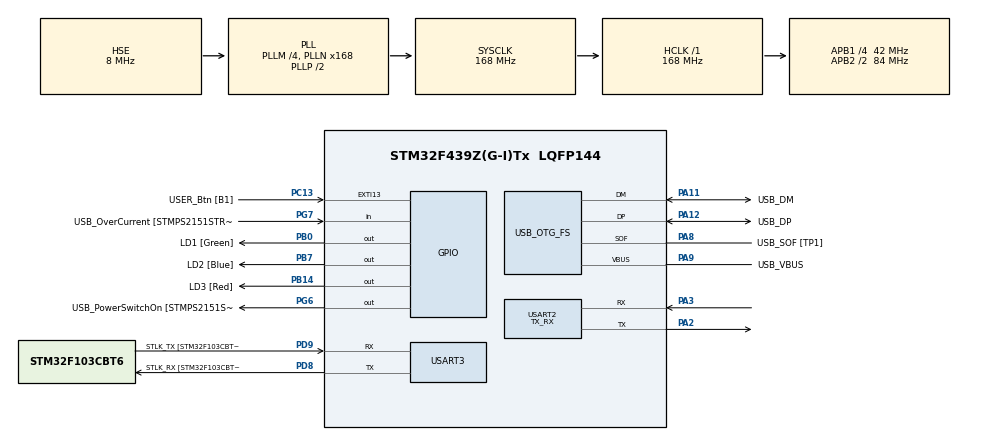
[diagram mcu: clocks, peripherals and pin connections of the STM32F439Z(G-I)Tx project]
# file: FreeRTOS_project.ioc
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FREERTOS.Tasks01=defaultTask,0,128,StartDefaultTask,Default,NULL,Dynamic,NULL,NULL;timerTest,0,512,StartTimerTest,Default,NULL,Dynamic,NULL,NULL
FREERTOS.configUSE_NEWLIB_REENTRANT=1
Mcu.Family=STM32F4
Mcu.Name=STM32F439Z(G-I)Tx
Mcu.Package=LQFP144
NVIC.PriorityGroup=NVIC_PRIORITYGROUP_4
NVIC.TIM2_IRQn=true\:5\:0\:false\:false\:true\:true\:true\:true\:true
NVIC.TIM3_IRQn=true\:5\:0\:false\:false\:true\:true\:true\:true\:true
NVIC.TIM4_IRQn=true\:5\:0\:false\:false\:true\:true\:true\:true\:true
NVIC.TIM6_DAC_IRQn=true\:15\:0\:false\:false\:true\:false\:false\:true\:true
NVIC.TimeBase=TIM6_DAC_IRQn
NVIC.TimeBaseIP=TIM6
PA10.GPIO_Label=USB_ID
PA10.Signal=USB_OTG_FS_ID
PA11.GPIO_Label=USB_DM
PA11.Mode=Device_Only
PA11.Signal=USB_OTG_FS_DM
PA12.GPIO_Label=USB_DP
PA12.Mode=Device_Only
PA12.Signal=USB_OTG_FS_DP
PA13.GPIO_Label=TMS
PA13.Mode=Serial_Wire
PA13.Signal=SYS_JTMS-SWDIO
PA14.GPIO_Label=TCK
PA14.Mode=Serial_Wire
PA14.Signal=SYS_JTCK-SWCLK
PA2.Mode=Asynchronous
PA2.Signal=USART2_TX
PA3.Mode=Asynchronous
PA3.Signal=USART2_RX
PA7.GPIO_Label=RMII_CRS_DV [LAN8742A-CZ-TR_CRS_DV]
PA7.Signal=ETH_CRS_DV
PA8.GPIO_Label=USB_SOF [TP1]
PA8.Mode=Activate_SOF_FS
PA8.Signal=USB_OTG_FS_SOF
PA9.GPIO_Label=USB_VBUS
PA9.Mode=Activate_VBUS
PA9.Signal=USB_OTG_FS_VBUS
PB0.GPIO_Label=LD1 [Green]
PB0.Signal=GPIO_Output
PB13.GPIO_Label=RMII_TXD1 [LAN8742A-CZ-TR_TXD1]
PB13.Signal=ETH_TXD1
PB14.GPIO_Label=LD3 [Red]
PB14.Signal=GPIO_Output
PB7.GPIO_Label=LD2 [Blue]
PB7.Signal=GPIO_Output
PC1.GPIO_Label=RMII_MDC [LAN8742A-CZ-TR_MDC]
PC1.Signal=ETH_MDC
PC13.GPIO_Label=USER_Btn [B1]
PC13.Signal=GPXTI13
PC14/OSC32_IN.Mode=LSE-External-Oscillator
PC14/OSC32_IN.Signal=RCC_OSC32_IN
PC15/OSC32_OUT.Mode=LSE-External-Oscillator
PC15/OSC32_OUT.Signal=RCC_OSC32_OUT
PC4.GPIO_Label=RMII_RXD0 [LAN8742A-CZ-TR_RXD0]
PC4.Signal=ETH_RXD0
PC5.GPIO_Label=RMII_RXD1 [LAN8742A-CZ-TR_RXD1]
PC5.Signal=ETH_RXD1
PD8.GPIO_Label=STLK_RX [STM32F103CBT6_PA3]
PD8.Mode=Asynchronous
PD8.Signal=USART3_TX
PD9.GPIO_Label=STLK_TX [STM32F103CBT6_PA2]
PD9.Mode=Asynchronous
PD9.Signal=USART3_RX
PG11.GPIO_Label=RMII_TX_EN [LAN8742A-CZ-TR_TXEN]
PG11.Signal=ETH_TX_EN
PG13.GPIO_Label=RMII_TXD0 [LAN8742A-CZ-TR_TXD0]
PG13.Signal=ETH_TXD0
PG6.GPIO_Label=USB_PowerSwitchOn [STMPS2151STR_EN]
PG6.Signal=GPIO_Output
PG7.GPIO_Label=USB_OverCurrent [STMPS2151STR_FAULT]
PG7.Signal=GPIO_Input
PH0/OSC_IN.GPIO_Label=MCO [STM32F103CBT6_PA8]
PH0/OSC_IN.Mode=HSE-External-Clock-Source
PH0/OSC_IN.Signal=RCC_OSC_IN
PH1/OSC_OUT.Mode=HSE-External-Clock-Source
PH1/OSC_OUT.Signal=RCC_OSC_OUT
ProjectManager.HeapSize=0x200
ProjectManager.StackSize=0x400
ProjectManager.TargetToolchain=STM32CubeIDE
RCC.48MHZClocksFreq_Value=48000000
RCC.AHBFreq_Value=168000000
RCC.APB1CLKDivider=RCC_HCLK_DIV4
RCC.APB1Freq_Value=42000000
RCC.APB1TimFreq_Value=84000000
RCC.APB2CLKDivider=RCC_HCLK_DIV2
RCC.APB2Freq_Value=84000000
RCC.APB2TimCLKDivider=2
RCC.APB2TimFreq_Value=168000000
RCC.CortexFreq_Value=168000000
RCC.HCLKFreq_Value=168000000
RCC.HSE_VALUE=8000000
RCC.HSI_VALUE=16000000
RCC.PLLM=4
RCC.PLLMUL=RCC_PLL_MUL9
RCC.PLLN=168
RCC.PLLQ=7
RCC.PRESCALERUSB=RCC_USBCLKSOURCE_PLL_DIV1_5
RCC.SYSCLKFreq_VALUE=168000000
RCC.SYSCLKSource=RCC_SYSCLKSOURCE_PLLCLK
RCC.SYSCLKSourceVirtual=RCC_SYSCLKSOURCE_PLLCLK
RCC.USBFreq_Value=48000000
RCC.VCOOutputFreq_Value=336000000
TIM2.Period=99
TIM2.Prescaler=167
TIM3.Period=199
TIM3.Prescaler=167
TIM4.Period=499
TIM4.Prescaler=167
USART2.Mode=MODE_TX_RX
USART2.VirtualMode=VM_ASYNC
USART3.VirtualMode=VM_ASYNC
USB_OTG_FS.VirtualMode=Device_Only
VP_FREERTOS_VS_CMSIS_V1.Mode=CMSIS_V1
VP_SYS_VS_tim6.Mode=TIM6
VP_TIM2_VS_ClockSourceINT.Mode=Internal
VP_TIM3_VS_ClockSourceINT.Mode=Internal
VP_TIM4_VS_ClockSourceINT.Mode=Internal
board=NUCLEO-F439ZI

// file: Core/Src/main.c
/* USER CODE BEGIN Header */
/**
 ******************************************************************************
 * @file           : main.c
 * @brief          : Main program body
 ******************************************************************************
 * @attention
 *
 * Copyright (c) 2025 STMicroelectronics.
 * All rights reserved.
 *
 * This software is licensed under terms that can be found in the LICENSE file
 * in the root directory of this software component.
 * If no LICENSE file comes with this software, it is provided AS-IS.
 *
 ******************************************************************************
 */
#include <stdio.h>
/* USER CODE END Header */
#include "main.h"
#include "cmsis_os.h"

/* USER CODE BEGIN Includes */
#include <stdbool.h>
/* USER CODE END Includes */

TIM_HandleTypeDef htim2;
TIM_HandleTypeDef htim3;
TIM_HandleTypeDef htim4;

UART_HandleTypeDef huart2;
UART_HandleTypeDef huart3;

PCD_HandleTypeDef hpcd_USB_OTG_FS;

osThreadId defaultTaskHandle;
osThreadId timerTestHandle;

void SystemClock_Config(void);
static void MX_GPIO_Init(void);
static void MX_USART3_UART_Init(void);
static void MX_USB_OTG_FS_PCD_Init(void);
static void MX_USART2_UART_Init(void);
static void MX_TIM2_Init(void);
static void MX_TIM3_Init(void);
static void MX_TIM4_Init(void);
void StartDefaultTask(void const *argument);
void StartTimerTest(void const *argument);

/* USER CODE BEGIN 0 */
int _write(int file, char *ptr, int len)
{
  HAL_UART_Transmit(&huart3, (uint8_t *)ptr, len, 10);
  return len;
}

static inline uint64_t get_cycles(void)
{
  return DWT->CYCCNT;
}

void dwt_init(void)
{
  CoreDebug->DEMCR |= CoreDebug_DEMCR_TRCENA_Msk;
  DWT->CYCCNT = 0;
  DWT->CTRL |= DWT_CTRL_CYCCNTENA_Msk;
}

#define SAMPLES 1000
#define REPEATS 5

static uint64_t time_100[SAMPLES];

static int count_100 = 0;
static bool done_100 = false;

void cb_100(TimerHandle_t xTimer)
{
  if (count_100 < SAMPLES)
  {
    time_100[count_100++] = get_cycles();
  }
  if (count_100 == SAMPLES)
    done_100 = true;
}

TimerHandle_t t100;

void timers_init(void)
{
  t100 = xTimerCreate("t100", 10, pdTRUE, NULL, cb_100);
}

void timers_start(void)
{
  xTimerStart(t100, 0);
}
/* USER CODE END 0 */

int main(void)
{

  /* MCU Configuration--------------------------------------------------------*/

  /* Reset of all peripherals, Initializes the Flash interface and the Systick. */
  HAL_Init();

  /* Configure the system clock */
  SystemClock_Config();

  /* Initialize all configured peripherals */
  MX_GPIO_Init();
  MX_USART3_UART_Init();
  MX_USB_OTG_FS_PCD_Init();
  MX_USART2_UART_Init();
  MX_TIM2_Init();
  MX_TIM3_Init();
  MX_TIM4_Init();

  /* USER CODE BEGIN RTOS_TIMERS */
  dwt_init();
  timers_init();
  timers_start();
  /* USER CODE END RTOS_TIMERS */

  /* Create the thread(s) */
  /* definition and creation of defaultTask */
  osThreadDef(defaultTask, StartDefaultTask, osPriorityNormal, 0, 128);
  defaultTaskHandle = osThreadCreate(osThread(defaultTask), NULL);

  /* definition and creation of timerTest */
  osThreadDef(timerTest, StartTimerTest, osPriorityNormal, 0, 512);
  timerTestHandle = osThreadCreate(osThread(timerTest), NULL);

  /* Start scheduler */
  osKernelStart();

  /* We should never get here as control is now taken by the scheduler */

  /* Infinite loop */
  while (1)
  {

  }
}

void SystemClock_Config(void)
{
  RCC_OscInitTypeDef RCC_OscInitStruct = {0};
  RCC_ClkInitTypeDef RCC_ClkInitStruct = {0};

  /** Configure the main internal regulator output voltage
   */
  __HAL_RCC_PWR_CLK_ENABLE();
  __HAL_PWR_VOLTAGESCALING_CONFIG(PWR_REGULATOR_VOLTAGE_SCALE1);

  /** Initializes the RCC Oscillators according to the specified parameters
   * in the RCC_OscInitTypeDef structure.
   */
  RCC_OscInitStruct.OscillatorType = RCC_OSCILLATORTYPE_HSE;
  RCC_OscInitStruct.HSEState = RCC_HSE_BYPASS;
  RCC_OscInitStruct.PLL.PLLState = RCC_PLL_ON;
  RCC_OscInitStruct.PLL.PLLSource = RCC_PLLSOURCE_HSE;
  RCC_OscInitStruct.PLL.PLLM = 4;
  RCC_OscInitStruct.PLL.PLLN = 168;
  RCC_OscInitStruct.PLL.PLLP = RCC_PLLP_DIV2;
  RCC_OscInitStruct.PLL.PLLQ = 7;
  if (HAL_RCC_OscConfig(&RCC_OscInitStruct) != HAL_OK)
  {
    Error_Handler();
  }

  /** Initializes the CPU, AHB and APB buses clocks
   */
  RCC_ClkInitStruct.ClockType = RCC_CLOCKTYPE_HCLK | RCC_CLOCKTYPE_SYSCLK | RCC_CLOCKTYPE_PCLK1 | RCC_CLOCKTYPE_PCLK2;
  RCC_ClkInitStruct.SYSCLKSource = RCC_SYSCLKSOURCE_PLLCLK;
  RCC_ClkInitStruct.AHBCLKDivider = RCC_SYSCLK_DIV1;
  RCC_ClkInitStruct.APB1CLKDivider = RCC_HCLK_DIV4;
  RCC_ClkInitStruct.APB2CLKDivider = RCC_HCLK_DIV2;

  if (HAL_RCC_ClockConfig(&RCC_ClkInitStruct, FLASH_LATENCY_5) != HAL_OK)
  {
    Error_Handler();
  }
}

static void MX_TIM2_Init(void)
{

  TIM_ClockConfigTypeDef sClockSourceConfig = {0};
  TIM_MasterConfigTypeDef sMasterConfig = {0};

  htim2.Instance = TIM2;
  htim2.Init.Prescaler = 167;
  htim2.Init.CounterMode = TIM_COUNTERMODE_UP;
  htim2.Init.Period = 99;
  htim2.Init.ClockDivision = TIM_CLOCKDIVISION_DIV1;
  htim2.Init.AutoReloadPreload = TIM_AUTORELOAD_PRELOAD_DISABLE;
  if (HAL_TIM_Base_Init(&htim2) != HAL_OK)
  {
    Error_Handler();
  }
  sClockSourceConfig.ClockSource = TIM_CLOCKSOURCE_INTERNAL;
  if (HAL_TIM_ConfigClockSource(&htim2, &sClockSourceConfig) != HAL_OK)
  {
    Error_Handler();
  }
  sMasterConfig.MasterOutputTrigger = TIM_TRGO_RESET;
  sMasterConfig.MasterSlaveMode = TIM_MASTERSLAVEMODE_DISABLE;
  if (HAL_TIMEx_MasterConfigSynchronization(&htim2, &sMasterConfig) != HAL_OK)
  {
    Error_Handler();
  }
}

static void MX_TIM3_Init(void)
{

  TIM_ClockConfigTypeDef sClockSourceConfig = {0};
  TIM_MasterConfigTypeDef sMasterConfig = {0};

  htim3.Instance = TIM3;
  htim3.Init.Prescaler = 167;
  htim3.Init.CounterMode = TIM_COUNTERMODE_UP;
  htim3.Init.Period = 199;
  htim3.Init.ClockDivision = TIM_CLOCKDIVISION_DIV1;
  htim3.Init.AutoReloadPreload = TIM_AUTORELOAD_PRELOAD_DISABLE;
  if (HAL_TIM_Base_Init(&htim3) != HAL_OK)
  {
    Error_Handler();
  }
  sClockSourceConfig.ClockSource = TIM_CLOCKSOURCE_INTERNAL;
  if (HAL_TIM_ConfigClockSource(&htim3, &sClockSourceConfig) != HAL_OK)
  {
    Error_Handler();
  }
  sMasterConfig.MasterOutputTrigger = TIM_TRGO_RESET;
  sMasterConfig.MasterSlaveMode = TIM_MASTERSLAVEMODE_DISABLE;
  if (HAL_TIMEx_MasterConfigSynchronization(&htim3, &sMasterConfig) != HAL_OK)
  {
    Error_Handler();
  }
}

static void MX_TIM4_Init(void)
{

  TIM_ClockConfigTypeDef sClockSourceConfig = {0};
  TIM_MasterConfigTypeDef sMasterConfig = {0};

  htim4.Instance = TIM4;
  htim4.Init.Prescaler = 167;
  htim4.Init.CounterMode = TIM_COUNTERMODE_UP;
  htim4.Init.Period = 499;
  htim4.Init.ClockDivision = TIM_CLOCKDIVISION_DIV1;
  htim4.Init.AutoReloadPreload = TIM_AUTORELOAD_PRELOAD_DISABLE;
  if (HAL_TIM_Base_Init(&htim4) != HAL_OK)
  {
    Error_Handler();
  }
  sClockSourceConfig.ClockSource = TIM_CLOCKSOURCE_INTERNAL;
  if (HAL_TIM_ConfigClockSource(&htim4, &sClockSourceConfig) != HAL_OK)
  {
    Error_Handler();
  }
  sMasterConfig.MasterOutputTrigger = TIM_TRGO_RESET;
  sMasterConfig.MasterSlaveMode = TIM_MASTERSLAVEMODE_DISABLE;
  if (HAL_TIMEx_MasterConfigSynchronization(&htim4, &sMasterConfig) != HAL_OK)
  {
    Error_Handler();
  }
}

static void MX_USART2_UART_Init(void)
{

  huart2.Instance = USART2;
  huart2.Init.BaudRate = 115200;
  huart2.Init.WordLength = UART_WORDLENGTH_8B;
  huart2.Init.StopBits = UART_STOPBITS_1;
  huart2.Init.Parity = UART_PARITY_NONE;
  huart2.Init.Mode = UART_MODE_TX_RX;
  huart2.Init.HwFlowCtl = UART_HWCONTROL_NONE;
  huart2.Init.OverSampling = UART_OVERSAMPLING_16;
  if (HAL_UART_Init(&huart2) != HAL_OK)
  {
    Error_Handler();
  }
}

static void MX_USART3_UART_Init(void)
{

  huart3.Instance = USART3;
  huart3.Init.BaudRate = 115200;
  huart3.Init.WordLength = UART_WORDLENGTH_8B;
  huart3.Init.StopBits = UART_STOPBITS_1;
  huart3.Init.Parity = UART_PARITY_NONE;
  huart3.Init.Mode = UART_MODE_TX_RX;
  huart3.Init.HwFlowCtl = UART_HWCONTROL_NONE;
  huart3.Init.OverSampling = UART_OVERSAMPLING_16;
  if (HAL_UART_Init(&huart3) != HAL_OK)
  {
    Error_Handler();
  }
}

static void MX_USB_OTG_FS_PCD_Init(void)
{

  hpcd_USB_OTG_FS.Instance = USB_OTG_FS;
  hpcd_USB_OTG_FS.Init.dev_endpoints = 4;
  hpcd_USB_OTG_FS.Init.speed = PCD_SPEED_FULL;
  hpcd_USB_OTG_FS.Init.dma_enable = DISABLE;
  hpcd_USB_OTG_FS.Init.phy_itface = PCD_PHY_EMBEDDED;
  hpcd_USB_OTG_FS.Init.Sof_enable = ENABLE;
  hpcd_USB_OTG_FS.Init.low_power_enable = DISABLE;
  hpcd_USB_OTG_FS.Init.lpm_enable = DISABLE;
  hpcd_USB_OTG_FS.Init.vbus_sensing_enable = ENABLE;
  hpcd_USB_OTG_FS.Init.use_dedicated_ep1 = DISABLE;
  if (HAL_PCD_Init(&hpcd_USB_OTG_FS) != HAL_OK)
  {
    Error_Handler();
  }
}

static void MX_GPIO_Init(void)
{
  GPIO_InitTypeDef GPIO_InitStruct = {0};

  /* GPIO Ports Clock Enable */
  __HAL_RCC_GPIOC_CLK_ENABLE();
  __HAL_RCC_GPIOH_CLK_ENABLE();
  __HAL_RCC_GPIOA_CLK_ENABLE();
  __HAL_RCC_GPIOB_CLK_ENABLE();
  __HAL_RCC_GPIOD_CLK_ENABLE();
  __HAL_RCC_GPIOG_CLK_ENABLE();

  /*Configure GPIO pin Output Level */
  HAL_GPIO_WritePin(GPIOB, LD1_Pin | LD3_Pin | LD2_Pin, GPIO_PIN_RESET);

  /*Configure GPIO pin Output Level */
  HAL_GPIO_WritePin(USB_PowerSwitchOn_GPIO_Port, USB_PowerSwitchOn_Pin, GPIO_PIN_RESET);

  /*Configure GPIO pin : USER_Btn_Pin */
  GPIO_InitStruct.Pin = USER_Btn_Pin;
  GPIO_InitStruct.Mode = GPIO_MODE_IT_RISING;
  GPIO_InitStruct.Pull = GPIO_NOPULL;
  HAL_GPIO_Init(USER_Btn_GPIO_Port, &GPIO_InitStruct);

  /*Configure GPIO pins : RMII_MDC_Pin RMII_RXD0_Pin RMII_RXD1_Pin */
  GPIO_InitStruct.Pin = RMII_MDC_Pin | RMII_RXD0_Pin | RMII_RXD1_Pin;
  GPIO_InitStruct.Mode = GPIO_MODE_AF_PP;
  GPIO_InitStruct.Pull = GPIO_NOPULL;
  GPIO_InitStruct.Speed = GPIO_SPEED_FREQ_VERY_HIGH;
  GPIO_InitStruct.Alternate = GPIO_AF11_ETH;
  HAL_GPIO_Init(GPIOC, &GPIO_InitStruct);

  /*Configure GPIO pin : RMII_CRS_DV_Pin */
  GPIO_InitStruct.Pin = RMII_CRS_DV_Pin;
  GPIO_InitStruct.Mode = GPIO_MODE_AF_PP;
  GPIO_InitStruct.Pull = GPIO_NOPULL;
  GPIO_InitStruct.Speed = GPIO_SPEED_FREQ_VERY_HIGH;
  GPIO_InitStruct.Alternate = GPIO_AF11_ETH;
  HAL_GPIO_Init(RMII_CRS_DV_GPIO_Port, &GPIO_InitStruct);

  /*Configure GPIO pins : LD1_Pin LD3_Pin LD2_Pin */
  GPIO_InitStruct.Pin = LD1_Pin | LD3_Pin | LD2_Pin;
  GPIO_InitStruct.Mode = GPIO_MODE_OUTPUT_PP;
  GPIO_InitStruct.Pull = GPIO_NOPULL;
  GPIO_InitStruct.Speed = GPIO_SPEED_FREQ_LOW;
  HAL_GPIO_Init(GPIOB, &GPIO_InitStruct);

  /*Configure GPIO pin : RMII_TXD1_Pin */
  GPIO_InitStruct.Pin = RMII_TXD1_Pin;
  GPIO_InitStruct.Mode = GPIO_MODE_AF_PP;
  GPIO_InitStruct.Pull = GPIO_NOPULL;
  GPIO_InitStruct.Speed = GPIO_SPEED_FREQ_VERY_HIGH;
  GPIO_InitStruct.Alternate = GPIO_AF11_ETH;
  HAL_GPIO_Init(RMII_TXD1_GPIO_Port, &GPIO_InitStruct);

  /*Configure GPIO pin : USB_PowerSwitchOn_Pin */
  GPIO_InitStruct.Pin = USB_PowerSwitchOn_Pin;
  GPIO_InitStruct.Mode = GPIO_MODE_OUTPUT_PP;
  GPIO_InitStruct.Pull = GPIO_NOPULL;
  GPIO_InitStruct.Speed = GPIO_SPEED_FREQ_LOW;
  HAL_GPIO_Init(USB_PowerSwitchOn_GPIO_Port, &GPIO_InitStruct);

  /*Configure GPIO pin : USB_OverCurrent_Pin */
  GPIO_InitStruct.Pin = USB_OverCurrent_Pin;
  GPIO_InitStruct.Mode = GPIO_MODE_INPUT;
  GPIO_InitStruct.Pull = GPIO_NOPULL;
  HAL_GPIO_Init(USB_OverCurrent_GPIO_Port, &GPIO_InitStruct);

  /*Configure GPIO pins : RMII_TX_EN_Pin RMII_TXD0_Pin */
  GPIO_InitStruct.Pin = RMII_TX_EN_Pin | RMII_TXD0_Pin;
  GPIO_InitStruct.Mode = GPIO_MODE_AF_PP;
  GPIO_InitStruct.Pull = GPIO_NOPULL;
  GPIO_InitStruct.Speed = GPIO_SPEED_FREQ_VERY_HIGH;
  GPIO_InitStruct.Alternate = GPIO_AF11_ETH;
  HAL_GPIO_Init(GPIOG, &GPIO_InitStruct);

}

void StartDefaultTask(void const *argument)
{
  /* USER CODE BEGIN 5 */
  /* Infinite loop */
  for (;;)
  {
    HAL_UART_Transmit(&huart2, (uint8_t *)"Tick\r\n", 6, 100);
    osDelay(1);
  }
  /* USER CODE END 5 */
}

void StartTimerTest(void const *argument)
{
  /* USER CODE BEGIN StartTimerTest */
  /* Infinite loop */
  printf("=== SERIES %d ===\n", repeat + 1);
  while (repeat < REPEATS)
  {

    //        if (done_100 && done_200 && done_500 &&
    //            done_1000 && done_5000 && done_10000) {
    //	        if (done_1000 && done_5000 && done_10000) {
    if (done_100)
    {
      printf("=== SERIES %d ===\n", repeat + 1);

      for (int i = 0; i < SAMPLES; i++)
      {
        printf("100us;%llu\n", time_100[i]);
        //                printf("200us;%llu\n", time_200[i]);
        //                printf("500us;%llu\n", time_500[i]);
        //                printf("1000us;%llu\n", time_1000[i]);
        //                printf("5000us;%llu\n", time_5000[i]);
        //                printf("10000us;%llu\n", time_10000[i]);
      }

      repeat++;

      // Reset jak w Zephyrze
      count_100 = count_200 = count_500 = 0;
      count_1000 = count_5000 = count_10000 = 0;
      done_100 = done_200 = done_500 = false;
      done_1000 = done_5000 = done_10000 = false;

      timers_start();
    }

    vTaskDelay(pdMS_TO_TICKS(10));
  }

  printf("All series completed.\n");
  vTaskSuspend(NULL);
  /* USER CODE END StartTimerTest */
}

void HAL_TIM_PeriodElapsedCallback(TIM_HandleTypeDef *htim)
{
  if (htim->Instance == TIM6)
  {
    HAL_IncTick();
  }
  /* USER CODE BEGIN Callback 1 */
  //  if (htim->Instance == TIM2)      // 100 us
  //  {
  //      if (count_100 < SAMPLES)
  //          time_100[count_100++] = get_cycles();
  //      else
  //          done_100 = true;
  //  }
  //  else if (htim->Instance == TIM3) // 200 us
  //  {
  //      if (count_200 < SAMPLES)
  //          time_200[count_200++] = get_cycles();
  //      else
  //          done_200 = true;
  //  }
  //  else if (htim->Instance == TIM4) // 500 us
  //  {
  //      if (count_500 < SAMPLES)
  //          time_500[count_500++] = get_cycles();
  //      else
  //          done_500 = true;
  //  }
  /* USER CODE END Callback 1 */
}

void Error_Handler(void)
{
  __disable_irq();
  while (1)
  {
  }
}
